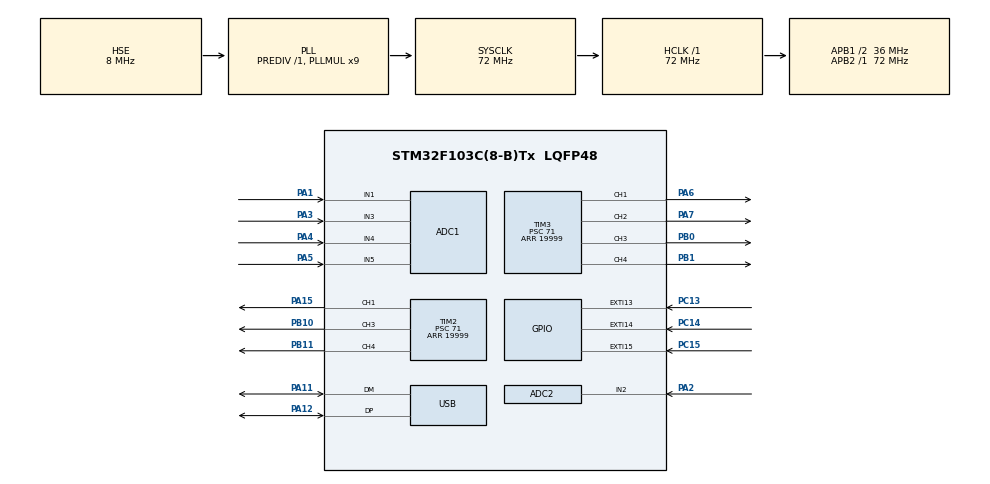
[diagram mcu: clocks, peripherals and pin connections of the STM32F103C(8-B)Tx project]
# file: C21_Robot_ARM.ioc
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ADC1.Channel-1\#ChannelRegularConversion=ADC_CHANNEL_1
ADC1.Channel-2\#ChannelRegularConversion=ADC_CHANNEL_2
ADC1.Channel-3\#ChannelRegularConversion=ADC_CHANNEL_4
ADC1.Channel-4\#ChannelRegularConversion=ADC_CHANNEL_5
ADC1.ContinuousConvMode=ENABLE
ADC1.NbrOfConversion=4
ADC1.NbrOfConversionFlag=1
ADC1.Rank-1\#ChannelRegularConversion=1
ADC1.Rank-2\#ChannelRegularConversion=2
ADC1.Rank-3\#ChannelRegularConversion=3
ADC1.Rank-4\#ChannelRegularConversion=4
ADC1.SamplingTime-1\#ChannelRegularConversion=ADC_SAMPLETIME_239CYCLES_5
ADC1.SamplingTime-2\#ChannelRegularConversion=ADC_SAMPLETIME_239CYCLES_5
ADC1.SamplingTime-3\#ChannelRegularConversion=ADC_SAMPLETIME_239CYCLES_5
ADC1.SamplingTime-4\#ChannelRegularConversion=ADC_SAMPLETIME_239CYCLES_5
ADC1.master=1
ADC2.Channel-0\#ChannelRegularConversion=ADC_CHANNEL_2
ADC2.NbrOfConversionFlag=1
ADC2.Rank-0\#ChannelRegularConversion=1
ADC2.SamplingTime-0\#ChannelRegularConversion=ADC_SAMPLETIME_1CYCLE_5
Dma.ADC1.0.Direction=DMA_PERIPH_TO_MEMORY
Dma.ADC1.0.Instance=DMA1_Channel1
Dma.ADC1.0.MemDataAlignment=DMA_MDATAALIGN_HALFWORD
Dma.ADC1.0.MemInc=DMA_MINC_ENABLE
Dma.ADC1.0.Mode=DMA_CIRCULAR
Dma.ADC1.0.PeriphDataAlignment=DMA_PDATAALIGN_HALFWORD
Dma.ADC1.0.PeriphInc=DMA_PINC_DISABLE
Dma.ADC1.0.Priority=DMA_PRIORITY_LOW
Dma.Request0=ADC1
Mcu.Family=STM32F1
Mcu.Name=STM32F103C(8-B)Tx
Mcu.Package=LQFP48
NVIC.DMA1_Channel1_IRQn=true\:0\:0\:false\:false\:true\:false\:true
NVIC.EXTI15_10_IRQn=true\:0\:0\:false\:false\:true\:true\:true
NVIC.PriorityGroup=NVIC_PRIORITYGROUP_4
NVIC.USB_LP_CAN1_RX0_IRQn=true\:0\:0\:false\:false\:true\:false\:true
PA1.Signal=ADCx_IN1
PA11.Mode=Device
PA11.Signal=USB_DM
PA12.Mode=Device
PA12.Signal=USB_DP
PA13.Mode=Serial_Wire
PA13.Signal=SYS_JTMS-SWDIO
PA14.Mode=Serial_Wire
PA14.Signal=SYS_JTCK-SWCLK
PA15.Signal=S_TIM2_CH1_ETR
PA2.Signal=ADCx_IN2
PA3.Signal=ADCx_IN3
PA4.Signal=ADCx_IN4
PA5.Signal=ADCx_IN5
PA6.Signal=S_TIM3_CH1
PA7.Signal=S_TIM3_CH2
PB0.Signal=S_TIM3_CH3
PB1.Signal=S_TIM3_CH4
PB10.Signal=S_TIM2_CH3
PB11.Signal=S_TIM2_CH4
PC13-TAMPER-RTC.GPIO_ModeDefaultEXTI=GPIO_MODE_IT_RISING_FALLING
PC13-TAMPER-RTC.Signal=GPXTI13
PC14-OSC32_IN.Signal=GPXTI14
PC15-OSC32_OUT.Signal=GPXTI15
PD0-OSC_IN.Mode=HSE-External-Oscillator
PD0-OSC_IN.Signal=RCC_OSC_IN
PD1-OSC_OUT.Mode=HSE-External-Oscillator
PD1-OSC_OUT.Signal=RCC_OSC_OUT
ProjectManager.HeapSize=0x200
ProjectManager.StackSize=0x400
ProjectManager.TargetToolchain=STM32CubeIDE
RCC.ADCPresc=RCC_ADCPCLK2_DIV8
RCC.AHBFreq_Value=72000000
RCC.APB1CLKDivider=RCC_HCLK_DIV2
RCC.APB1Freq_Value=36000000
RCC.APB1TimFreq_Value=72000000
RCC.APB2Freq_Value=72000000
RCC.APB2TimFreq_Value=72000000
RCC.HCLKFreq_Value=72000000
RCC.PLLMUL=RCC_PLL_MUL9
RCC.PLLSourceVirtual=RCC_PLLSOURCE_HSE
RCC.SYSCLKFreq_VALUE=72000000
RCC.SYSCLKSource=RCC_SYSCLKSOURCE_PLLCLK
RCC.USBFreq_Value=48000000
RCC.USBPrescaler=RCC_USBCLKSOURCE_PLL_DIV1_5
SH.ADCx_IN1.0=ADC1_IN1,IN1
SH.ADCx_IN2.0=ADC2_IN2,IN2
SH.ADCx_IN2.1=ADC1_IN2,IN2
SH.ADCx_IN3.0=ADC1_IN3,IN3
SH.ADCx_IN4.0=ADC1_IN4,IN4
SH.ADCx_IN5.0=ADC1_IN5,IN5
SH.S_TIM2_CH1_ETR.0=TIM2_CH1,PWM Generation1 CH1
SH.S_TIM2_CH3.0=TIM2_CH3,PWM Generation3 CH3
SH.S_TIM2_CH4.0=TIM2_CH4,PWM Generation4 CH4
SH.S_TIM3_CH1.0=TIM3_CH1,PWM Generation1 CH1
SH.S_TIM3_CH2.0=TIM3_CH2,PWM Generation2 CH2
SH.S_TIM3_CH3.0=TIM3_CH3,PWM Generation3 CH3
SH.S_TIM3_CH4.0=TIM3_CH4,PWM Generation4 CH4
TIM1.Period=2000
TIM1.Prescaler=71
TIM2.Channel-PWM\ Generation1\ CH1=TIM_CHANNEL_1
TIM2.Channel-PWM\ Generation3\ CH3=TIM_CHANNEL_3
TIM2.Channel-PWM\ Generation4\ CH4=TIM_CHANNEL_4
TIM2.Period=19999
TIM2.Prescaler=71
TIM3.Channel-PWM\ Generation1\ CH1=TIM_CHANNEL_1
TIM3.Channel-PWM\ Generation2\ CH2=TIM_CHANNEL_2
TIM3.Channel-PWM\ Generation3\ CH3=TIM_CHANNEL_3
TIM3.Channel-PWM\ Generation4\ CH4=TIM_CHANNEL_4
TIM3.Period=19999
TIM3.Prescaler=71
TIM3.Pulse-PWM\ Generation3\ CH3=1000
TIM4.Period=5000
TIM4.Prescaler=71
USB_DEVICE.CLASS_NAME_FS=HID
USB_DEVICE.VirtualMode=Hid
USB_DEVICE.VirtualModeFS=Hid_FS
VP_TIM1_VS_ClockSourceINT.Mode=Internal
VP_TIM2_VS_ClockSourceINT.Mode=Internal
VP_TIM3_VS_ClockSourceINT.Mode=Internal
VP_TIM4_VS_ClockSourceINT.Mode=Internal
VP_USB_DEVICE_VS_USB_DEVICE_HID_FS.Mode=HID_FS
board=custom

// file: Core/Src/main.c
/* USER CODE BEGIN Header */
/**
  ******************************************************************************
  * @file           : main.c
  * @brief          : Main program body
  ******************************************************************************
  * @attention
  *
  * <h2><center>&copy; Copyright (c) 2020 STMicroelectronics.
  * All rights reserved.</center></h2>
  *
  * This software component is licensed by ST under BSD 3-Clause license,
  * the "License"; You may not use this file except in compliance with the
  * License. You may obtain a copy of the License at:
  *                        opensource.org/licenses/BSD-3-Clause
  *
  ******************************************************************************
  */
/* USER CODE END Header */
#include "main.h"
#include "usb_device.h"

ADC_HandleTypeDef hadc1;
ADC_HandleTypeDef hadc2;
DMA_HandleTypeDef hdma_adc1;

TIM_HandleTypeDef htim1;
TIM_HandleTypeDef htim2;
TIM_HandleTypeDef htim3;
TIM_HandleTypeDef htim4;

void SystemClock_Config(void);
static void MX_GPIO_Init(void);
static void MX_DMA_Init(void);
static void MX_TIM3_Init(void);
static void MX_TIM2_Init(void);
static void MX_TIM1_Init(void);
static void MX_ADC1_Init(void);
static void MX_ADC2_Init(void);
static void MX_TIM4_Init(void);

/* USER CODE BEGIN 0 */
uint16_t a[6];
float temp[6];
uint8_t buf[12];
uint16_t value,value1, value2;
int count = 0;

uint8_t pin_selected = 0;
uint8_t calib1,calib2;

const float l0 = 78;
const float l1 = 104;
const float l2 = 98;
const float l3 = 96;
const float l4 = 11;

//
uint16_t convert_angle(float angle){
    uint16_t temp = 0;
    temp = (uint16_t) ((angle/45.0)*500 + 1500);
    return temp;
}

typedef struct{
	float theta0;
	float theta1;
	float theta2;
	float theta3;
	float theta4;
	float theta5;
}theta_angle;
theta_angle inverse_kinematic(float x, float y, float z){
	theta_angle temp;
	float d;
	d = sqrt(x*x + y*y + (z-l0)*(z-l0));
	temp.theta0 = atan(x/y)*180/3.14159;
	temp.theta1 = 90 - (acos((l1*l1 + d*d - l2*l2)/(2*l1*d))  + atan((z - l0)/sqrt(x*x+y*y)))*180/3.14159;
	temp.theta2 = -(((acos((l1*l1 - d*d + l2*l2)/(2*l1*l2)))*180/3.14159));
	temp.theta3 = -temp.theta2 - (acos((l1*l1 + d*d - l2*l2)/(2*l1*d))  + atan((z - l0)/d))*180/3.14159;
    return temp;
}
/* USER CODE END 0 */

int main(void)
{

  /* MCU Configuration--------------------------------------------------------*/

  /* Reset of all peripherals, Initializes the Flash interface and the Systick. */
  HAL_Init();

  /* Configure the system clock */
  SystemClock_Config();

  /* Initialize all configured peripherals */
  MX_GPIO_Init();
  MX_DMA_Init();
  MX_TIM3_Init();
  MX_TIM2_Init();
  MX_TIM1_Init();
  MX_USB_DEVICE_Init();
  MX_ADC1_Init();
  MX_ADC2_Init();
  MX_TIM4_Init();
  /* USER CODE BEGIN 2 */
  HAL_TIM_PWM_Start(&htim2,TIM_CHANNEL_1);
  HAL_TIM_PWM_Start(&htim2,TIM_CHANNEL_3);
  HAL_TIM_PWM_Start(&htim2,TIM_CHANNEL_4);
  HAL_TIM_PWM_Start(&htim3,TIM_CHANNEL_1);
  HAL_TIM_PWM_Start(&htim3,TIM_CHANNEL_2);
  HAL_TIM_PWM_Start(&htim3,TIM_CHANNEL_3);
  HAL_TIM_PWM_Start(&htim3,TIM_CHANNEL_4);

  __HAL_TIM_SET_COMPARE(&htim2, TIM_CHANNEL_1, 1500);
  __HAL_TIM_SET_COMPARE(&htim2, TIM_CHANNEL_3, 1500);
  __HAL_TIM_SET_COMPARE(&htim2, TIM_CHANNEL_4, 1500);
  __HAL_TIM_SET_COMPARE(&htim3, TIM_CHANNEL_1, 1500);
  __HAL_TIM_SET_COMPARE(&htim3, TIM_CHANNEL_2, 1500);
  __HAL_TIM_SET_COMPARE(&htim3, TIM_CHANNEL_3, 1500);
  __HAL_TIM_SET_COMPARE(&htim3, TIM_CHANNEL_4, 1500);

  HAL_ADC_Start_DMA(&hadc1,a,4);
   float temp1,temp2;
   for(int i = 0 ; i < 100; i++){
       temp1 += floor(a[0]/4096.0*255);
       temp2 += floor(a[1]/4096.0*255);
       HAL_Delay(2);
   }
   temp1/=100;
   temp2/=100;

   calib1 = (uint8_t) temp1;
   calib2 = (uint8_t) temp2;

   uint16_t theta[6];
   for(int i = 0; i<6; i++){
	   theta[i] = 1500;
   }
   theta_angle angle;
  /* USER CODE END 2 */

  /* Infinite loop */
  while (1)
  {

    /* USER CODE BEGIN 3 */
//     for(float i = 78; i< 160;i+=0.1){
//	  angle = inverse_kinematic(70,70,i);
//
//	  		  __HAL_TIM_SET_COMPARE(&htim2, TIM_CHANNEL_3, convert_angle( angle.theta1));
//	  		 __HAL_TIM_SET_COMPARE(&htim3, TIM_CHANNEL_4, convert_angle( angle.theta2));
//	  		 HAL_Delay(5);
//     }
//
//     for(float i = 160; i> 78;i-=0.1){
//     	  angle = inverse_kinematic(70,70,i);
//
//     	  		  __HAL_TIM_SET_COMPARE(&htim2, TIM_CHANNEL_3, convert_angle( angle.theta1));
//     	  		 __HAL_TIM_SET_COMPARE(&htim3, TIM_CHANNEL_4, convert_angle( angle.theta2));
//     	  		 HAL_Delay(5);
//          }
//	  		  angle = inverse_kinematic(70,70,120);
//
//	  	__HAL_TIM_SET_COMPARE(&htim2, TIM_CHANNEL_3, convert_angle( angle.theta1));
//	  	__HAL_TIM_SET_COMPARE(&htim3, TIM_CHANNEL_4, convert_angle( angle.theta2));
//	  		  HAL_Delay(1000);
	  //	  }
	  //
	  //	  for(float angle = 45; angle > -45; angle -=0.1){
	  //		  __HAL_TIM_SET_COMPARE(&htim3, TIM_CHANNEL_4, convert_angle(angle));

//	  for(float angle = -45; angle < 45; angle +=0.1){
//		  __HAL_TIM_SET_COMPARE(&htim3, TIM_CHANNEL_4, convert_angle( angle));
//		  HAL_Delay(10);
//	  }
//
//	  for(float angle = 45; angle > -45; angle -=0.1){
//		  __HAL_TIM_SET_COMPARE(&htim3, TIM_CHANNEL_4, convert_angle(angle));
//		  HAL_Delay(10);
//	  }
	  if(a[0] < 1000){
		  if(theta[3] > 1000){
	      theta[3]--;
//	      __HAL_TIM_SET_COMPARE(&htim2, TIM_CHANNEL_3, i);
//	      __HAL_TIM_SET_COMPARE(&htim2, TIM_CHANNEL_4, i);

		  }

	  }

	  if(a[0] > 3000){
	 		  if(theta[3] < 2000){
	 	      theta[3]++;
	 //	      __HAL_TIM_SET_COMPARE(&htim2, TIM_CHANNEL_3, i);
	 //	      __HAL_TIM_SET_COMPARE(&htim2, TIM_CHANNEL_4, i);
//	 	      __HAL_TIM_SET_COMPARE(&htim3, TIM_CHANNEL_2, theta[5]);
	 		  }

	 	  }

	  if(a[1] < 1000){
			  if(theta[4] > 1000){
		      theta[4]--;
	//	      __HAL_TIM_SET_COMPARE(&htim2, TIM_CHANNEL_3, i);
	//	      __HAL_TIM_SET_COMPARE(&htim2, TIM_CHANNEL_4, i);

			  }

		  }

		  if(a[1] > 3000){
		 		  if(theta[4] < 2000){
		 	      theta[4]++;
		 //	      __HAL_TIM_SET_COMPARE(&htim2, TIM_CHANNEL_3, i);
		 //	      __HAL_TIM_SET_COMPARE(&htim2, TIM_CHANNEL_4, i);
	//	 	      __HAL_TIM_SET_COMPARE(&htim3, TIM_CHANNEL_2, theta[5]);
		 		  }

		 	  }

		  if(a[3] < 1000){
					  if(theta[2] > 1000){
				      theta[2]--;
			//	      __HAL_TIM_SET_COMPARE(&htim2, TIM_CHANNEL_3, i);
			//	      __HAL_TIM_SET_COMPARE(&htim2, TIM_CHANNEL_4, i);

					  }

				  }

				  if(a[3] > 3000){
				 		  if(theta[2] < 2000){
				 	      theta[2]++;
				 //	      __HAL_TIM_SET_COMPARE(&htim2, TIM_CHANNEL_3, i);
				 //	      __HAL_TIM_SET_COMPARE(&htim2, TIM_CHANNEL_4, i);
			//	 	      __HAL_TIM_SET_COMPARE(&htim3, TIM_CHANNEL_2, theta[5]);
				 		  }

		 	  }

				  if(a[2] < 1000){
							  if(theta[1] > 800){
						      theta[1]--;
					//	      __HAL_TIM_SET_COMPARE(&htim2, TIM_CHANNEL_3, i);
					//	      __HAL_TIM_SET_COMPARE(&htim2, TIM_CHANNEL_4, i);

							  }

						  }

						  if(a[2] > 3000){
						 		  if(theta[1] < 2200){
						 	      theta[1]++;
						 //	      __HAL_TIM_SET_COMPARE(&htim2, TIM_CHANNEL_3, i);
						 //	      __HAL_TIM_SET_COMPARE(&htim2, TIM_CHANNEL_4, i);
					//	 	      __HAL_TIM_SET_COMPARE(&htim3, TIM_CHANNEL_2, theta[5]);
						 		  }

				 	  }
	  __HAL_TIM_SET_COMPARE(&htim2, TIM_CHANNEL_3, theta[2]);
	  __HAL_TIM_SET_COMPARE(&htim2, TIM_CHANNEL_4, theta[1]);
//	  for(uint16_t i = 1000; i < 1100; i++){
//		  __HAL_TIM_SET_COMPARE(&htim3, TIM_CHANNEL_4, i);
//		  HAL_Delay(5);
//	  }
//
//	  for(uint16_t i = 1100; i < 1400; i++){
//		  __HAL_TIM_SET_COMPARE(&htim3, TIM_CHANNEL_4, i);
//		  HAL_Delay(2);
//	  }
//
//	  for(uint16_t i = 1400; i < 1500; i++){
//		  __HAL_TIM_SET_COMPARE(&htim3, TIM_CHANNEL_4, i);
//		  HAL_Delay(5);
//	  }
//
//	  for(uint16_t i = 1500; i > 1400; i--){
//		  __HAL_TIM_SET_COMPARE(&htim3, TIM_CHANNEL_4, i);
//		  HAL_Delay(5);
//	  }
//
//	  for(uint16_t i = 1400; i > 1100; i--){
//		  __HAL_TIM_SET_COMPARE(&htim3, TIM_CHANNEL_4, i);
//		  HAL_Delay(2);
//	  }
//
//	  for(uint16_t i = 1100; i > 1000; i--){
//		  __HAL_TIM_SET_COMPARE(&htim3, TIM_CHANNEL_4, i);
//		  HAL_Delay(5);
//	  }

	  __HAL_TIM_SET_COMPARE(&htim3, TIM_CHANNEL_4, theta[3]);
      __HAL_TIM_SET_COMPARE(&htim3, TIM_CHANNEL_3, theta[4]);
	  __HAL_TIM_SET_COMPARE(&htim3, TIM_CHANNEL_2, theta[5]);
      HAL_Delay(5);
//	  for(int i = 2200; i>800;i-- ){
////	  __HAL_TIM_SET_COMPARE(&htim2, TIM_CHANNEL_3, i);
////	  __HAL_TIM_SET_COMPARE(&htim2, TIM_CHANNEL_4, i);
//	  __HAL_TIM_SET_COMPARE(&htim3, TIM_CHANNEL_2, i);
//	     HAL_Delay(2);
//	  }

  }
  /* USER CODE END 3 */
}

void SystemClock_Config(void)
{
  RCC_OscInitTypeDef RCC_OscInitStruct = {0};
  RCC_ClkInitTypeDef RCC_ClkInitStruct = {0};
  RCC_PeriphCLKInitTypeDef PeriphClkInit = {0};

  /** Initializes the RCC Oscillators according to the specified parameters
  * in the RCC_OscInitTypeDef structure.
  */
  RCC_OscInitStruct.OscillatorType = RCC_OSCILLATORTYPE_HSE;
  RCC_OscInitStruct.HSEState = RCC_HSE_ON;
  RCC_OscInitStruct.HSEPredivValue = RCC_HSE_PREDIV_DIV1;
  RCC_OscInitStruct.HSIState = RCC_HSI_ON;
  RCC_OscInitStruct.PLL.PLLState = RCC_PLL_ON;
  RCC_OscInitStruct.PLL.PLLSource = RCC_PLLSOURCE_HSE;
  RCC_OscInitStruct.PLL.PLLMUL = RCC_PLL_MUL9;
  if (HAL_RCC_OscConfig(&RCC_OscInitStruct) != HAL_OK)
  {
    Error_Handler();
  }
  /** Initializes the CPU, AHB and APB buses clocks
  */
  RCC_ClkInitStruct.ClockType = RCC_CLOCKTYPE_HCLK|RCC_CLOCKTYPE_SYSCLK
                              |RCC_CLOCKTYPE_PCLK1|RCC_CLOCKTYPE_PCLK2;
  RCC_ClkInitStruct.SYSCLKSource = RCC_SYSCLKSOURCE_PLLCLK;
  RCC_ClkInitStruct.AHBCLKDivider = RCC_SYSCLK_DIV1;
  RCC_ClkInitStruct.APB1CLKDivider = RCC_HCLK_DIV2;
  RCC_ClkInitStruct.APB2CLKDivider = RCC_HCLK_DIV1;

  if (HAL_RCC_ClockConfig(&RCC_ClkInitStruct, FLASH_LATENCY_2) != HAL_OK)
  {
    Error_Handler();
  }
  PeriphClkInit.PeriphClockSelection = RCC_PERIPHCLK_ADC|RCC_PERIPHCLK_USB;
  PeriphClkInit.AdcClockSelection = RCC_ADCPCLK2_DIV8;
  PeriphClkInit.UsbClockSelection = RCC_USBCLKSOURCE_PLL_DIV1_5;
  if (HAL_RCCEx_PeriphCLKConfig(&PeriphClkInit) != HAL_OK)
  {
    Error_Handler();
  }
}

static void MX_ADC1_Init(void)
{

  ADC_ChannelConfTypeDef sConfig = {0};

  /** Common config
  */
  hadc1.Instance = ADC1;
  hadc1.Init.ScanConvMode = ADC_SCAN_ENABLE;
  hadc1.Init.ContinuousConvMode = ENABLE;
  hadc1.Init.DiscontinuousConvMode = DISABLE;
  hadc1.Init.ExternalTrigConv = ADC_SOFTWARE_START;
  hadc1.Init.DataAlign = ADC_DATAALIGN_RIGHT;
  hadc1.Init.NbrOfConversion = 4;
  if (HAL_ADC_Init(&hadc1) != HAL_OK)
  {
    Error_Handler();
  }
  /** Configure Regular Channel
  */
  sConfig.Channel = ADC_CHANNEL_1;
  sConfig.Rank = ADC_REGULAR_RANK_1;
  sConfig.SamplingTime = ADC_SAMPLETIME_239CYCLES_5;
  if (HAL_ADC_ConfigChannel(&hadc1, &sConfig) != HAL_OK)
  {
    Error_Handler();
  }
  /** Configure Regular Channel
  */
  sConfig.Channel = ADC_CHANNEL_2;
  sConfig.Rank = ADC_REGULAR_RANK_2;
  if (HAL_ADC_ConfigChannel(&hadc1, &sConfig) != HAL_OK)
  {
    Error_Handler();
  }
  /** Configure Regular Channel
  */
  sConfig.Channel = ADC_CHANNEL_4;
  sConfig.Rank = ADC_REGULAR_RANK_3;
  if (HAL_ADC_ConfigChannel(&hadc1, &sConfig) != HAL_OK)
  {
    Error_Handler();
  }
  /** Configure Regular Channel
  */
  sConfig.Channel = ADC_CHANNEL_5;
  sConfig.Rank = ADC_REGULAR_RANK_4;
  if (HAL_ADC_ConfigChannel(&hadc1, &sConfig) != HAL_OK)
  {
    Error_Handler();
  }

}

static void MX_ADC2_Init(void)
{

  ADC_ChannelConfTypeDef sConfig = {0};

  /** Common config
  */
  hadc2.Instance = ADC2;
  hadc2.Init.ScanConvMode = ADC_SCAN_DISABLE;
  hadc2.Init.ContinuousConvMode = DISABLE;
  hadc2.Init.DiscontinuousConvMode = DISABLE;
  hadc2.Init.ExternalTrigConv = ADC_SOFTWARE_START;
  hadc2.Init.DataAlign = ADC_DATAALIGN_RIGHT;
  hadc2.Init.NbrOfConversion = 1;
  if (HAL_ADC_Init(&hadc2) != HAL_OK)
  {
    Error_Handler();
  }
  /** Configure Regular Channel
  */
  sConfig.Channel = ADC_CHANNEL_2;
  sConfig.Rank = ADC_REGULAR_RANK_1;
  sConfig.SamplingTime = ADC_SAMPLETIME_1CYCLE_5;
  if (HAL_ADC_ConfigChannel(&hadc2, &sConfig) != HAL_OK)
  {
    Error_Handler();
  }

}

static void MX_TIM1_Init(void)
{

  TIM_ClockConfigTypeDef sClockSourceConfig = {0};
  TIM_MasterConfigTypeDef sMasterConfig = {0};

  htim1.Instance = TIM1;
  htim1.Init.Prescaler = 71;
  htim1.Init.CounterMode = TIM_COUNTERMODE_UP;
  htim1.Init.Period = 2000;
  htim1.Init.ClockDivision = TIM_CLOCKDIVISION_DIV1;
  htim1.Init.RepetitionCounter = 0;
  htim1.Init.AutoReloadPreload = TIM_AUTORELOAD_PRELOAD_DISABLE;
  if (HAL_TIM_Base_Init(&htim1) != HAL_OK)
  {
    Error_Handler();
  }
  sClockSourceConfig.ClockSource = TIM_CLOCKSOURCE_INTERNAL;
  if (HAL_TIM_ConfigClockSource(&htim1, &sClockSourceConfig) != HAL_OK)
  {
    Error_Handler();
  }
  sMasterConfig.MasterOutputTrigger = TIM_TRGO_RESET;
  sMasterConfig.MasterSlaveMode = TIM_MASTERSLAVEMODE_DISABLE;
  if (HAL_TIMEx_MasterConfigSynchronization(&htim1, &sMasterConfig) != HAL_OK)
  {
    Error_Handler();
  }

}

static void MX_TIM2_Init(void)
{

  TIM_ClockConfigTypeDef sClockSourceConfig = {0};
  TIM_MasterConfigTypeDef sMasterConfig = {0};
  TIM_OC_InitTypeDef sConfigOC = {0};

  htim2.Instance = TIM2;
  htim2.Init.Prescaler = 71;
  htim2.Init.CounterMode = TIM_COUNTERMODE_UP;
  htim2.Init.Period = 19999;
  htim2.Init.ClockDivision = TIM_CLOCKDIVISION_DIV1;
  htim2.Init.AutoReloadPreload = TIM_AUTORELOAD_PRELOAD_DISABLE;
  if (HAL_TIM_Base_Init(&htim2) != HAL_OK)
  {
    Error_Handler();
  }
  sClockSourceConfig.ClockSource = TIM_CLOCKSOURCE_INTERNAL;
  if (HAL_TIM_ConfigClockSource(&htim2, &sClockSourceConfig) != HAL_OK)
  {
    Error_Handler();
  }
  if (HAL_TIM_PWM_Init(&htim2) != HAL_OK)
  {
    Error_Handler();
  }
  sMasterConfig.MasterOutputTrigger = TIM_TRGO_RESET;
  sMasterConfig.MasterSlaveMode = TIM_MASTERSLAVEMODE_DISABLE;
  if (HAL_TIMEx_MasterConfigSynchronization(&htim2, &sMasterConfig) != HAL_OK)
  {
    Error_Handler();
  }
  sConfigOC.OCMode = TIM_OCMODE_PWM1;
  sConfigOC.Pulse = 0;
  sConfigOC.OCPolarity = TIM_OCPOLARITY_HIGH;
  sConfigOC.OCFastMode = TIM_OCFAST_DISABLE;
  if (HAL_TIM_PWM_ConfigChannel(&htim2, &sConfigOC, TIM_CHANNEL_1) != HAL_OK)
  {
    Error_Handler();
  }
  if (HAL_TIM_PWM_ConfigChannel(&htim2, &sConfigOC, TIM_CHANNEL_3) != HAL_OK)
  {
    Error_Handler();
  }
  if (HAL_TIM_PWM_ConfigChannel(&htim2, &sConfigOC, TIM_CHANNEL_4) != HAL_OK)
  {
    Error_Handler();
  }
  HAL_TIM_MspPostInit(&htim2);

}

static void MX_TIM3_Init(void)
{

  TIM_ClockConfigTypeDef sClockSourceConfig = {0};
  TIM_MasterConfigTypeDef sMasterConfig = {0};
  TIM_OC_InitTypeDef sConfigOC = {0};

  htim3.Instance = TIM3;
  htim3.Init.Prescaler = 71;
  htim3.Init.CounterMode = TIM_COUNTERMODE_UP;
  htim3.Init.Period = 19999;
  htim3.Init.ClockDivision = TIM_CLOCKDIVISION_DIV1;
  htim3.Init.AutoReloadPreload = TIM_AUTORELOAD_PRELOAD_DISABLE;
  if (HAL_TIM_Base_Init(&htim3) != HAL_OK)
  {
    Error_Handler();
  }
  sClockSourceConfig.ClockSource = TIM_CLOCKSOURCE_INTERNAL;
  if (HAL_TIM_ConfigClockSource(&htim3, &sClockSourceConfig) != HAL_OK)
  {
    Error_Handler();
  }
  if (HAL_TIM_PWM_Init(&htim3) != HAL_OK)
  {
    Error_Handler();
  }
  sMasterConfig.MasterOutputTrigger = TIM_TRGO_RESET;
  sMasterConfig.MasterSlaveMode = TIM_MASTERSLAVEMODE_DISABLE;
  if (HAL_TIMEx_MasterConfigSynchronization(&htim3, &sMasterConfig) != HAL_OK)
  {
    Error_Handler();
  }
  sConfigOC.OCMode = TIM_OCMODE_PWM1;
  sConfigOC.Pulse = 0;
  sConfigOC.OCPolarity = TIM_OCPOLARITY_HIGH;
  sConfigOC.OCFastMode = TIM_OCFAST_DISABLE;
  if (HAL_TIM_PWM_ConfigChannel(&htim3, &sConfigOC, TIM_CHANNEL_1) != HAL_OK)
  {
    Error_Handler();
  }
  if (HAL_TIM_PWM_ConfigChannel(&htim3, &sConfigOC, TIM_CHANNEL_2) != HAL_OK)
  {
    Error_Handler();
  }
  sConfigOC.Pulse = 1000;
  if (HAL_TIM_PWM_ConfigChannel(&htim3, &sConfigOC, TIM_CHANNEL_3) != HAL_OK)
  {
    Error_Handler();
  }
  sConfigOC.Pulse = 0;
  if (HAL_TIM_PWM_ConfigChannel(&htim3, &sConfigOC, TIM_CHANNEL_4) != HAL_OK)
  {
    Error_Handler();
  }
  HAL_TIM_MspPostInit(&htim3);

}

static void MX_TIM4_Init(void)
{

  TIM_ClockConfigTypeDef sClockSourceConfig = {0};
  TIM_MasterConfigTypeDef sMasterConfig = {0};

  htim4.Instance = TIM4;
  htim4.Init.Prescaler = 71;
  htim4.Init.CounterMode = TIM_COUNTERMODE_UP;
  htim4.Init.Period = 5000;
  htim4.Init.ClockDivision = TIM_CLOCKDIVISION_DIV1;
  htim4.Init.AutoReloadPreload = TIM_AUTORELOAD_PRELOAD_DISABLE;
  if (HAL_TIM_Base_Init(&htim4) != HAL_OK)
  {
    Error_Handler();
  }
  sClockSourceConfig.ClockSource = TIM_CLOCKSOURCE_INTERNAL;
  if (HAL_TIM_ConfigClockSource(&htim4, &sClockSourceConfig) != HAL_OK)
  {
    Error_Handler();
  }
  sMasterConfig.MasterOutputTrigger = TIM_TRGO_RESET;
  sMasterConfig.MasterSlaveMode = TIM_MASTERSLAVEMODE_DISABLE;
  if (HAL_TIMEx_MasterConfigSynchronization(&htim4, &sMasterConfig) != HAL_OK)
  {
    Error_Handler();
  }

}

static void MX_DMA_Init(void)
{

  /* DMA controller clock enable */
  __HAL_RCC_DMA1_CLK_ENABLE();

  /* DMA interrupt init */
  /* DMA1_Channel1_IRQn interrupt configuration */
  HAL_NVIC_SetPriority(DMA1_Channel1_IRQn, 0, 0);
  HAL_NVIC_EnableIRQ(DMA1_Channel1_IRQn);

}

static void MX_GPIO_Init(void)
{
  GPIO_InitTypeDef GPIO_InitStruct = {0};

  /* GPIO Ports Clock Enable */
  __HAL_RCC_GPIOC_CLK_ENABLE();
  __HAL_RCC_GPIOD_CLK_ENABLE();
  __HAL_RCC_GPIOA_CLK_ENABLE();
  __HAL_RCC_GPIOB_CLK_ENABLE();

  /*Configure GPIO pin : PC13 */
  GPIO_InitStruct.Pin = GPIO_PIN_13;
  GPIO_InitStruct.Mode = GPIO_MODE_IT_RISING_FALLING;
  GPIO_InitStruct.Pull = GPIO_NOPULL;
  HAL_GPIO_Init(GPIOC, &GPIO_InitStruct);

  /*Configure GPIO pins : PC14 PC15 */
  GPIO_InitStruct.Pin = GPIO_PIN_14|GPIO_PIN_15;
  GPIO_InitStruct.Mode = GPIO_MODE_IT_RISING;
  GPIO_InitStruct.Pull = GPIO_NOPULL;
  HAL_GPIO_Init(GPIOC, &GPIO_InitStruct);

  /* EXTI interrupt init*/
  HAL_NVIC_SetPriority(EXTI15_10_IRQn, 0, 0);
  HAL_NVIC_EnableIRQ(EXTI15_10_IRQn);

}

void Error_Handler(void)
{
}

/************************ (C) COPYRIGHT STMicroelectronics *****END OF FILE****/
